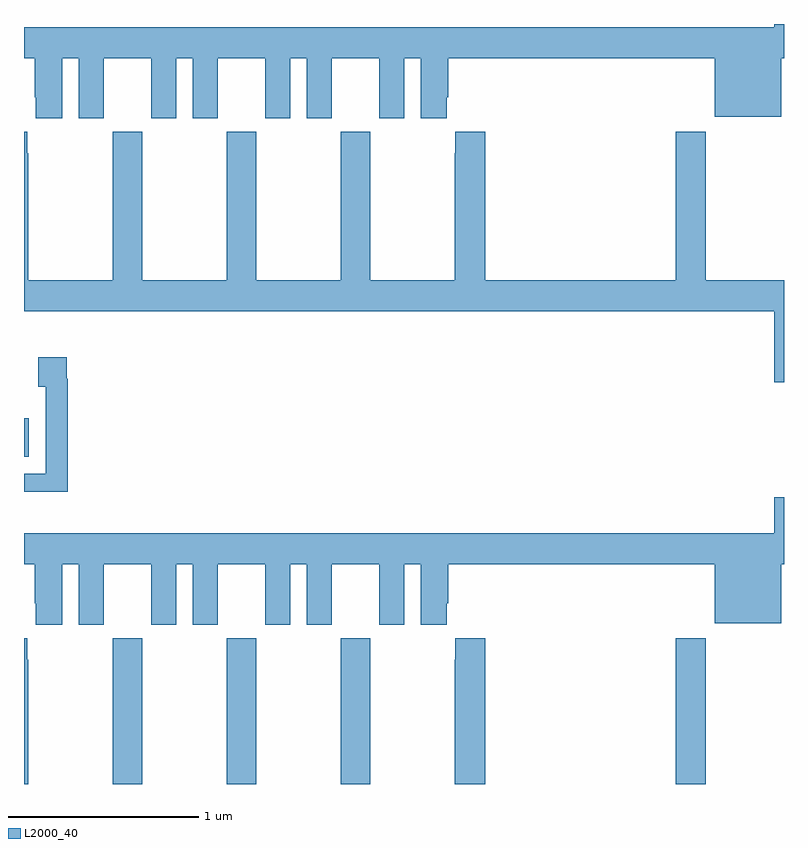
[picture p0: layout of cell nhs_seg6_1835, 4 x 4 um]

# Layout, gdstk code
import gdstk
lib = gdstk.Library(unit=1e-6, precision=1e-09)
def R(c, l, rs):  # rectangles x0, y0, x1, y1
    for r in rs: c.add(gdstk.rectangle(r[:2], r[2:], *l))
def A(c, l, x, y, w, h, nx, ny, dx, dy):  # array of equal rectangles
    R(c, l, [(x+i*dx, y+j*dy, x+i*dx+w, y+j*dy+h) for i in range(nx) for j in range(ny)])
def P(c, l, *ps):  # polygons
    for p in ps: c.add(gdstk.Polygon(p, *l))
L2000_40 = (2000, 40)

nhs_seg6_1835 = lib.new_cell('nhs_seg6_1835')
A(nhs_seg6_1835, L2000_40, 221.467, 959.5, 0.155, 0.768, 3, 1, 0.6, 0)
R(nhs_seg6_1835, L2000_40, [(224.429,959.5,224.589,960.268), (221,961.223,221.026,961.426)])
P(nhs_seg6_1835, L2000_40, [(221.2,963.32),(221.288,963.32),(221.288,963.003),(221.419,963.003),(221.419,963.32),(221.669,963.32),(221.669,963.003),(221.8,963.003),(221.8,963.32),(221.888,963.32),(221.888,963.003),(222.019,963.003),(222.019,963.32),(222.269,963.32),(222.269,963.003),(222.4,963.003),(222.4,963.32),(222.488,963.32),(222.488,963.003),(222.619,963.003),(222.619,963.32),(222.869,963.32),(222.869,963.003),(223,963.003),(223,963.32),(223.088,963.32),(223.088,963.003),(223.225,963.003),(223.225,963.115),(223.232,963.115),(223.232,963.32),(224.636,963.32),(224.636,963.011),(224.986,963.011),(224.986,963.32),(225,963.32),(225,963.5),(224.948,963.5),(224.948,963.484),(221,963.484),(221,963.32),(221.057,963.32),(221.057,963.115),(221.063,963.115),(221.063,963.003),(221.2,963.003)],
  [(225,962.152),(224.589,962.152),(224.589,962.932),(224.429,962.932),(224.429,962.152),(223.427,962.152),(223.427,962.932),(223.271,962.932),(223.271,962.819),(223.267,962.819),(223.267,962.152),(222.822,962.152),(222.822,962.932),(222.667,962.932),(222.667,962.152),(222.222,962.152),(222.222,962.932),(222.067,962.932),(222.067,962.152),(221.622,962.152),(221.622,962.932),(221.467,962.932),(221.467,962.152),(221.022,962.152),(221.022,962.819),(221.017,962.819),(221.017,962.932),(221,962.932),(221,961.988),(224.948,961.988),(224.948,961.614),(225,961.614)],
  [(221.231,961.634),(221.224,961.634),(221.224,961.747),(221.075,961.747),(221.075,961.591),(221.115,961.591),(221.115,961.134),(221,961.134),(221,961.037),(221.231,961.037)],
  [(221.2,960.656),(221.288,960.656),(221.288,960.339),(221.419,960.339),(221.419,960.656),(221.669,960.656),(221.669,960.339),(221.8,960.339),(221.8,960.656),(221.888,960.656),(221.888,960.339),(222.019,960.339),(222.019,960.656),(222.269,960.656),(222.269,960.339),(222.4,960.339),(222.4,960.656),(222.488,960.656),(222.488,960.339),(222.619,960.339),(222.619,960.656),(222.869,960.656),(222.869,960.339),(223,960.339),(223,960.656),(223.088,960.656),(223.088,960.339),(223.225,960.339),(223.225,960.451),(223.232,960.451),(223.232,960.656),(224.636,960.656),(224.636,960.347),(224.986,960.347),(224.986,960.656),(225,960.656),(225,961.009),(224.948,961.009),(224.948,960.82),(221,960.82),(221,960.656),(221.057,960.656),(221.057,960.451),(221.063,960.451),(221.063,960.339),(221.2,960.339)],
  [(223.427,960.268),(223.271,960.268),(223.271,960.155),(223.267,960.155),(223.267,959.5),(223.427,959.5)],
  [(221.022,960.155),(221.017,960.155),(221.017,960.268),(221,960.268),(221,959.5),(221.022,959.5)])

lib.write_gds('nhs_seg6_1835.gds')
